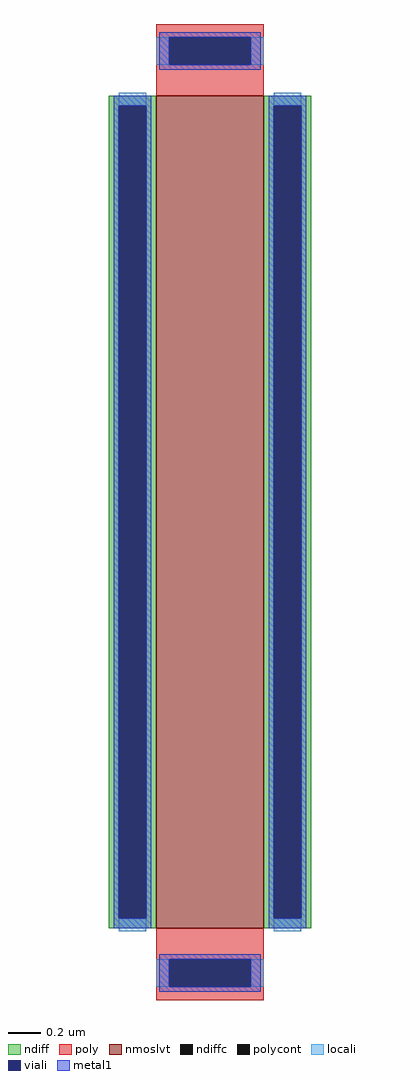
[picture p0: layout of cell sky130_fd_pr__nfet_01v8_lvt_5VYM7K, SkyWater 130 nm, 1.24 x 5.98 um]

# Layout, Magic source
magic
tech sky130A
<< nmoslvt >>
rect -33 -255 33 255
<< ndiff >>
rect -62 249 -33 255
rect -62 -249 -56 249
rect -39 -249 -33 249
rect -62 -255 -33 -249
rect 33 249 62 255
rect 33 -249 39 249
rect 56 -249 62 249
rect 33 -255 62 -249
<< ndiffc >>
rect -56 -249 -39 249
rect 39 -249 56 249
<< poly >>
rect -33 291 33 299
rect -33 274 -25 291
rect 25 274 33 291
rect -33 255 33 274
rect -33 -274 33 -255
rect -33 -291 -25 -274
rect 25 -291 33 -274
rect -33 -299 33 -291
<< polycont >>
rect -25 274 25 291
rect -25 -291 25 -274
<< locali >>
rect -33 274 -25 291
rect 25 274 33 291
rect -56 249 -39 257
rect -56 -257 -39 -249
rect 39 249 56 257
rect 39 -257 56 -249
rect -33 -291 -25 -274
rect 25 -291 33 -274
<< viali >>
rect -25 274 25 291
rect -56 -249 -39 249
rect 39 -249 56 249
rect -25 -291 25 -274
<< metal1 >>
rect -31 291 31 294
rect -31 274 -25 291
rect 25 274 31 291
rect -31 271 31 274
rect -59 249 -36 255
rect -59 -249 -56 249
rect -39 -249 -36 249
rect -59 -255 -36 -249
rect 36 249 59 255
rect 36 -249 39 249
rect 56 -249 59 249
rect 36 -255 59 -249
rect -31 -274 31 -271
rect -31 -291 -25 -274
rect 25 -291 31 -274
rect -31 -294 31 -291
<< properties >>
string gencell sky130_fd_pr__nfet_01v8_lvt
string library sky130
string parameters w 5.10 l 0.66 m 1 nf 1 diffcov 100 polycov 100 guard 0 glc 0 grc 0 gtc 0 gbc 0 tbcov 100 rlcov 100 topc 1 botc 1 poverlap 0 doverlap 1 lmin 0.15 wmin 0.42 compatible {sky130_fd_pr__nfet_01v8 sky130_fd_pr__nfet_01v8_lvt  sky130_fd_bs_flash__special_sonosfet_star  sky130_fd_pr__nfet_g5v0d10v5 sky130_fd_pr__nfet_05v0_nvt  sky130_fd_pr__nfet_03v3_nvt} full_metal 0 viasrc 100 viadrn 100 viagate 100 viagb 0 viagr 0 viagl 0 viagt 0
<< end >>
